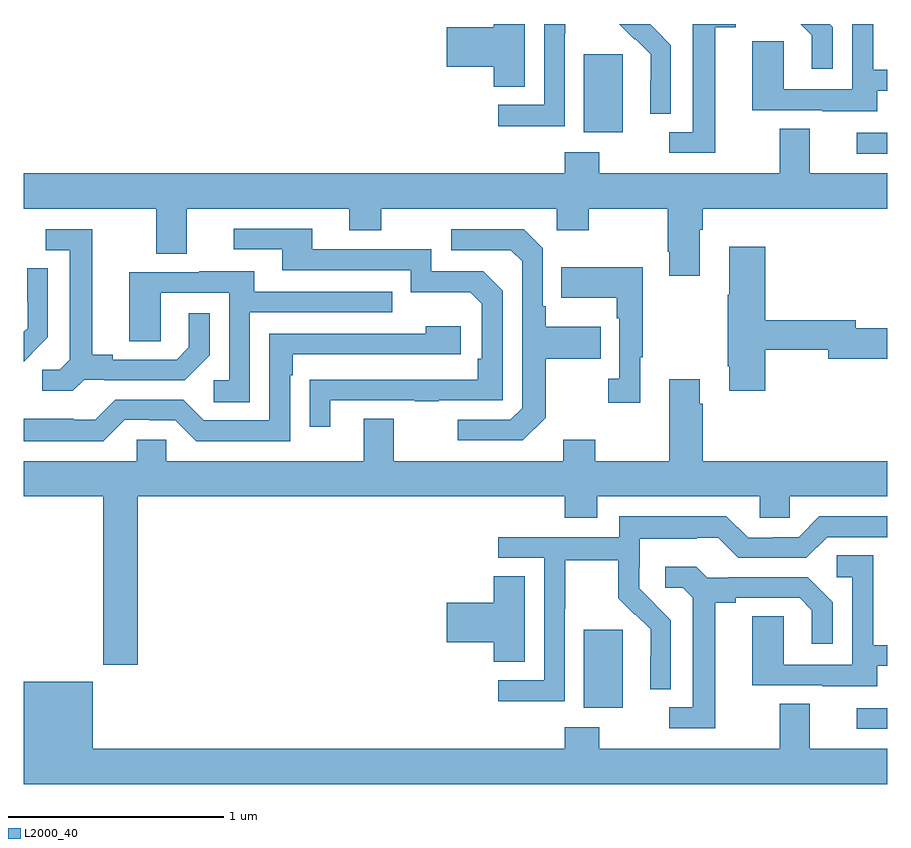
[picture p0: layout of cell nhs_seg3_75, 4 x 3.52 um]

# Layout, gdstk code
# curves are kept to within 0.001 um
import gdstk
lib = gdstk.Library(unit=1e-6, precision=1e-09)
def R(c, l, rs):  # rectangles x0, y0, x1, y1
    for r in rs: c.add(gdstk.rectangle(r[:2], r[2:], *l))
def P(c, l, *ps):  # polygons
    for p in ps: c.add(gdstk.Polygon(p, *l))
L2000_40 = (2000, 40)

nhs_seg3_75 = lib.new_cell('nhs_seg3_75')
R(nhs_seg3_75, L2000_40, [(116.859,737.136,117,737.232), (115.595,737.234,115.774,737.595), (116.859,739.8,117,739.896), (115.595,739.898,115.774,740.259)])
P(nhs_seg3_75, L2000_40, [(115.998,740.302),(115.925,740.375),(115.926,740.376),(115.902,740.4),(115.758,740.4),(115.83,740.328),(115.833,740.331),(115.904,740.261),(115.904,740.138),(115.902,740.138),(115.902,739.984),(115.998,739.984)],
  [(115.506,740.356),(115.509,740.356),(115.509,740.4),(115.41,740.4),(115.41,740.025),(115.197,740.025),(115.197,739.927),(115.506,739.927)],
  [(116.748,740.386),(116.734,740.4),(116.6,740.4),(116.651,740.349),(116.651,740.193),(116.748,740.193)],
  [(116.203,740.384),(116.299,740.384),(116.299,740.4),(116.099,740.4),(116.099,739.899),(115.989,739.899),(115.989,739.803),(116.203,739.803)],
  [(115.321,740.4),(115.178,740.4),(115.178,740.384),(114.96,740.384),(114.96,740.201),(115.178,740.201),(115.178,740.11),(115.321,740.11)],
  [(116.953,740.091),(117,740.091),(117,740.187),(116.934,740.187),(116.934,740.4),(116.838,740.4),(116.838,740.097),(116.52,740.097),(116.52,740.321),(116.375,740.321),(116.375,740.001),(116.699,740.001),(116.699,739.997),(116.953,739.997)],
  [(116.131,739.448),(116.144,739.448),(116.144,739.544),(117,739.544),(117,739.708),(116.641,739.708),(116.641,739.916),(116.501,739.916),(116.501,739.708),(115.665,739.708),(115.665,739.807),(115.505,739.807),(115.505,739.708),(113,739.708),(113,739.544),(113.615,739.544),(113.615,739.336),(113.755,739.336),(113.755,739.544),(114.509,739.544),(114.509,739.445),(114.657,739.445),(114.657,739.544),(115.47,739.544),(115.47,739.445),(115.617,739.445),(115.617,739.544),(115.984,739.544),(115.984,739.345),(115.991,739.345),(115.991,739.233),(116.131,739.233)],
  [(114.421,738.657),(114.811,738.657),(114.811,738.652),(114.923,738.652),(114.923,738.657),(115.218,738.657),(115.218,739.164),(115.128,739.254),(114.888,739.254),(114.888,739.356),(114.337,739.356),(114.337,739.452),(113.973,739.452),(113.973,739.356),(114.197,739.356),(114.197,739.26),(114.792,739.26),(114.792,739.157),(115.069,739.157),(115.122,739.104),(115.122,738.85),(115.102,738.85),(115.102,738.753),(114.325,738.752),(114.325,738.534),(114.421,738.534)],
  [(113.28,738.753),(113.374,738.753),(113.374,738.75),(113.746,738.75),(113.862,738.866),(113.862,739.06),(113.765,739.06),(113.765,738.903),(113.708,738.846),(113.413,738.846),(113.413,738.869),(113.317,738.869),(113.317,739.449),(113.103,739.449),(113.103,739.353),(113.213,739.353),(113.213,738.845),(113.166,738.798),(113.085,738.798),(113.085,738.701),(113.228,738.701)],
  [(115.417,738.577),(115.417,738.85),(115.673,738.85),(115.673,738.997),(115.417,738.997),(115.417,739.093),(115.404,739.093),(115.404,739.362),(115.317,739.449),(114.981,739.449),(114.981,739.353),(115.257,739.353),(115.308,739.302),(115.308,738.621),(115.254,738.567),(115.011,738.567),(115.011,738.471),(115.311,738.471)],
  [(116.435,738.892),(116.726,738.892),(116.726,738.85),(117,738.85),(117,738.992),(116.854,738.992),(116.854,739.028),(116.435,739.028),(116.435,739.369),(116.267,739.369),(116.267,739.145),(116.26,739.145),(116.26,738.814),(116.267,738.814),(116.267,738.702),(116.435,738.702)],
  [(115.855,738.857),(115.867,738.857),(115.867,739.273),(115.489,739.273),(115.489,739.133),(115.746,739.133),(115.746,739.037),(115.758,739.037),(115.758,738.758),(115.707,738.758),(115.707,738.645),(115.855,738.645)],
  [(113.04,738.876),(113.039,738.877),(113.112,738.95),(113.112,739.268),(113.016,739.268),(113.016,739.114),(113.018,739.114),(113.018,738.992),(113,738.974),(113,738.836)],
  [(114.048,739.065),(114.707,739.065),(114.707,739.161),(114.067,739.161),(114.067,739.255),(113.813,739.255),(113.813,739.251),(113.489,739.251),(113.489,738.931),(113.634,738.931),(113.634,739.155),(113.952,739.155),(113.952,738.75),(113.88,738.75),(113.88,738.649),(114.048,738.649)],
  [(113.469,738.567),(113.585,738.567),(113.585,738.564),(113.703,738.564),(113.799,738.468),(114.234,738.468),(114.234,738.773),(114.247,738.773),(114.247,738.87),(115.024,738.87),(115.024,739),(114.863,739),(114.863,738.966),(114.138,738.966),(114.138,738.564),(113.835,738.564),(113.739,738.66),(113.424,738.66),(113.331,738.567),(113.231,738.567),(113.231,738.571),(113,738.571),(113,738.467),(113.369,738.467)],
  [(113.528,738.212),(115.505,738.212),(115.505,738.113),(115.657,738.113),(115.657,738.212),(116.409,738.212),(116.409,738.114),(116.547,738.114),(116.547,738.212),(117,738.212),(117,738.376),(116.144,738.376),(116.144,738.641),(116.131,738.641),(116.131,738.754),(115.991,738.754),(115.991,738.376),(115.647,738.376),(115.647,738.475),(115.499,738.475),(115.499,738.376),(114.715,738.376),(114.715,738.571),(114.575,738.571),(114.575,738.376),(113.661,738.376),(113.661,738.474),(113.523,738.474),(113.523,738.376),(113,738.376),(113,738.212),(113.368,738.212),(113.368,737.433),(113.528,737.433)],
  [(115.506,737.692),(115.509,737.692),(115.509,737.916),(115.753,737.916),(115.753,737.741),(115.83,737.664),(115.833,737.667),(115.904,737.597),(115.904,737.474),(115.902,737.474),(115.902,737.32),(115.998,737.32),(115.998,737.638),(115.852,737.786),(115.852,737.883),(115.854,737.883),(115.854,738.017),(116.117,738.017),(116.117,738.021),(116.217,738.021),(116.31,737.928),(116.625,737.928),(116.721,738.024),(117,738.024),(117,738.12),(116.685,738.12),(116.589,738.024),(116.471,738.024),(116.471,738.021),(116.355,738.021),(116.255,738.121),(115.758,738.121),(115.758,738.024),(115.197,738.024),(115.197,737.928),(115.41,737.928),(115.41,737.361),(115.197,737.361),(115.197,737.263),(115.506,737.263)],
  [(116.953,737.427),(117,737.427),(117,737.523),(116.934,737.523),(116.934,737.939),(116.766,737.939),(116.766,737.838),(116.838,737.838),(116.838,737.433),(116.52,737.433),(116.52,737.657),(116.375,737.657),(116.375,737.337),(116.699,737.337),(116.699,737.333),(116.953,737.333)],
  [(116.203,737.72),(116.299,737.72),(116.299,737.742),(116.594,737.742),(116.651,737.685),(116.651,737.529),(116.748,737.529),(116.748,737.722),(116.632,737.838),(116.26,737.838),(116.26,737.835),(116.166,737.835),(116.114,737.887),(115.971,737.887),(115.971,737.79),(116.052,737.79),(116.099,737.743),(116.099,737.235),(115.989,737.235),(115.989,737.139),(116.203,737.139)],
  [(115.321,737.843),(115.178,737.843),(115.178,737.72),(114.96,737.72),(114.96,737.537),(115.178,737.537),(115.178,737.446),(115.321,737.446)],
  [(117,737.044),(116.641,737.044),(116.641,737.252),(116.501,737.252),(116.501,737.044),(115.665,737.044),(115.665,737.143),(115.505,737.143),(115.505,737.044),(113.32,737.044),(113.32,737.353),(113,737.353),(113,736.88),(117,736.88)])

lib.write_gds('nhs_seg3_75.gds')
